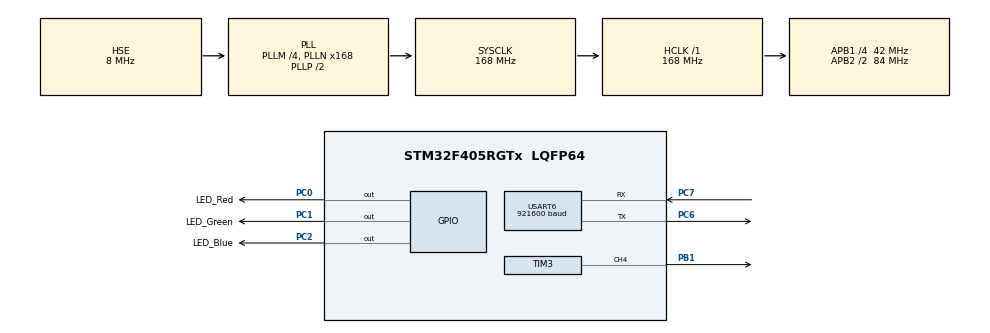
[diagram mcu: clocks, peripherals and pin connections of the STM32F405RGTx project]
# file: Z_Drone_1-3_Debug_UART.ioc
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Mcu.Family=STM32F4
Mcu.Name=STM32F405RGTx
Mcu.Package=LQFP64
NVIC.PriorityGroup=NVIC_PRIORITYGROUP_4
NVIC.USART6_IRQn=true\:0\:0\:false\:false\:true\:true\:true\:true
PB1.Signal=S_TIM3_CH4
PC0.GPIO_Label=LED_Red
PC0.Signal=GPIO_Output
PC1.GPIO_Label=LED_Green
PC1.Signal=GPIO_Output
PC2.GPIO_Label=LED_Blue
PC2.Signal=GPIO_Output
PC6.Mode=Asynchronous
PC6.Signal=USART6_TX
PC7.Mode=Asynchronous
PC7.Signal=USART6_RX
PH0-OSC_IN.Mode=HSE-External-Oscillator
PH0-OSC_IN.Signal=RCC_OSC_IN
PH1-OSC_OUT.Mode=HSE-External-Oscillator
PH1-OSC_OUT.Signal=RCC_OSC_OUT
ProjectManager.HeapSize=0x200
ProjectManager.StackSize=0x400
ProjectManager.TargetToolchain=STM32CubeIDE
RCC.48MHZClocksFreq_Value=84000000
RCC.AHBFreq_Value=168000000
RCC.APB1CLKDivider=RCC_HCLK_DIV4
RCC.APB1Freq_Value=42000000
RCC.APB1TimFreq_Value=84000000
RCC.APB2CLKDivider=RCC_HCLK_DIV2
RCC.APB2Freq_Value=84000000
RCC.APB2TimFreq_Value=168000000
RCC.CortexFreq_Value=168000000
RCC.HCLKFreq_Value=168000000
RCC.HSE_VALUE=8000000
RCC.HSI_VALUE=16000000
RCC.LSE_VALUE=32768
RCC.PLLM=4
RCC.PLLN=168
RCC.PLLSourceVirtual=RCC_PLLSOURCE_HSE
RCC.SYSCLKFreq_VALUE=168000000
RCC.SYSCLKSource=RCC_SYSCLKSOURCE_PLLCLK
RCC.VCOOutputFreq_Value=336000000
SH.S_TIM3_CH4.0=TIM3_CH4,PWM Generation4 CH4
TIM3.AutoReloadPreload=TIM_AUTORELOAD_PRELOAD_ENABLE
TIM3.Channel-PWM\ Generation4\ CH4=TIM_CHANNEL_4
TIM3.OCFastMode_PWM-PWM\ Generation4\ CH4=TIM_OCFAST_ENABLE
TIM3.Period=21-1
TIM3.Prescaler=1000-1
TIM3.Pulse-PWM\ Generation4\ CH4=11-1
USART6.BaudRate=921600
USART6.VirtualMode=VM_ASYNC
VP_TIM3_VS_ClockSourceINT.Mode=Internal
board=custom

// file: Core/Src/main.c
/* USER CODE BEGIN Header */
/**
  ******************************************************************************
  * @file           : main.c
  * @brief          : Main program body
  ******************************************************************************
  * @attention
  *
  * Copyright (c) 2024 STMicroelectronics.
  * All rights reserved.
  *
  * This software is licensed under terms that can be found in the LICENSE file
  * in the root directory of this software component.
  * If no LICENSE file comes with this software, it is provided AS-IS.
  *
  ******************************************************************************
  */
/* USER CODE END Header */
#include "main.h"
#include "tim.h"
#include "usart.h"
#include "gpio.h"

/* USER CODE BEGIN PTD */

int _write(int file, char *p, int len) {
	HAL_UART_Transmit(&huart6, p, len, 1);
	return len;
}

/* USER CODE END PTD */

/* USER CODE BEGIN PV */
uint8_t rxBuffer;
/* USER CODE END PV */

void SystemClock_Config(void);

int main(void)
{

  /* MCU Configuration--------------------------------------------------------*/

  /* Reset of all peripherals, Initializes the Flash interface and the Systick. */
  HAL_Init();

  /* Configure the system clock */
  SystemClock_Config();

  /* Initialize all configured peripherals */
  MX_GPIO_Init();
  MX_TIM3_Init();
  MX_USART6_UART_Init();
  /* USER CODE BEGIN 2 */

  HAL_TIM_PWM_Start(&htim3, TIM_CHANNEL_4);

  htim3.Instance->PSC=2000;
  HAL_Delay(100);
  htim3.Instance->PSC=1500;
  HAL_Delay(100);
  htim3.Instance->PSC=1000;
  HAL_Delay(100);

  HAL_TIM_PWM_Stop(&htim3, TIM_CHANNEL_4);

  HAL_UART_Receive_IT(&huart6, &rxBuffer, 1);

  /* USER CODE END 2 */

  /* Infinite loop */
  while (1)
  {

  }
}

void SystemClock_Config(void)
{
  RCC_OscInitTypeDef RCC_OscInitStruct = {0};
  RCC_ClkInitTypeDef RCC_ClkInitStruct = {0};

  /** Configure the main internal regulator output voltage
  */
  __HAL_RCC_PWR_CLK_ENABLE();
  __HAL_PWR_VOLTAGESCALING_CONFIG(PWR_REGULATOR_VOLTAGE_SCALE1);

  /** Initializes the RCC Oscillators according to the specified parameters
  * in the RCC_OscInitTypeDef structure.
  */
  RCC_OscInitStruct.OscillatorType = RCC_OSCILLATORTYPE_HSE;
  RCC_OscInitStruct.HSEState = RCC_HSE_ON;
  RCC_OscInitStruct.PLL.PLLState = RCC_PLL_ON;
  RCC_OscInitStruct.PLL.PLLSource = RCC_PLLSOURCE_HSE;
  RCC_OscInitStruct.PLL.PLLM = 4;
  RCC_OscInitStruct.PLL.PLLN = 168;
  RCC_OscInitStruct.PLL.PLLP = RCC_PLLP_DIV2;
  RCC_OscInitStruct.PLL.PLLQ = 4;
  if (HAL_RCC_OscConfig(&RCC_OscInitStruct) != HAL_OK)
  {
    Error_Handler();
  }

  /** Initializes the CPU, AHB and APB buses clocks
  */
  RCC_ClkInitStruct.ClockType = RCC_CLOCKTYPE_HCLK|RCC_CLOCKTYPE_SYSCLK
                              |RCC_CLOCKTYPE_PCLK1|RCC_CLOCKTYPE_PCLK2;
  RCC_ClkInitStruct.SYSCLKSource = RCC_SYSCLKSOURCE_PLLCLK;
  RCC_ClkInitStruct.AHBCLKDivider = RCC_SYSCLK_DIV1;
  RCC_ClkInitStruct.APB1CLKDivider = RCC_HCLK_DIV4;
  RCC_ClkInitStruct.APB2CLKDivider = RCC_HCLK_DIV2;

  if (HAL_RCC_ClockConfig(&RCC_ClkInitStruct, FLASH_LATENCY_5) != HAL_OK)
  {
    Error_Handler();
  }
}

/* USER CODE BEGIN 4 */
void HAL_UART_RxCpltCallback(UART_HandleTypeDef *huart){
	if(huart->Instance == USART6){
		HAL_UART_Receive_IT(&huart6, &rxBuffer, 1);
	  	HAL_UART_Transmit(&huart6, &rxBuffer, 1, 0);
	}
}
/* USER CODE END 4 */

void Error_Handler(void)
{
  __disable_irq();
  while (1)
  {
  }
}
